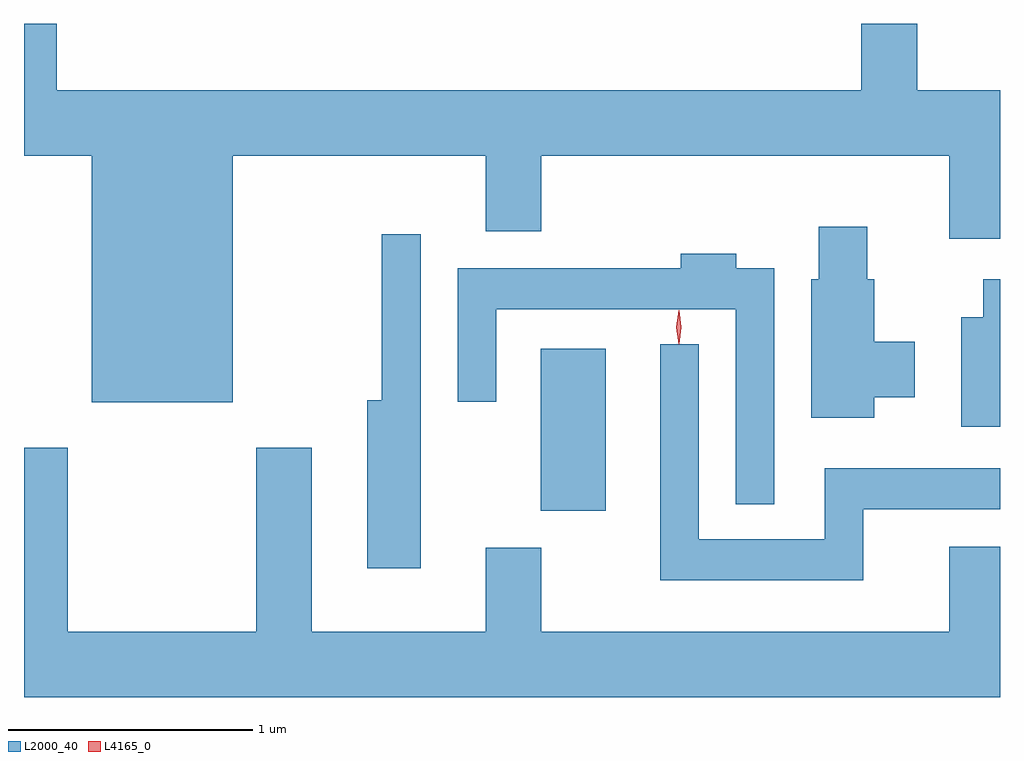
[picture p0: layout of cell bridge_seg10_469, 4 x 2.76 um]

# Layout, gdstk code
import gdstk
lib = gdstk.Library(unit=1e-6, precision=1e-09)
def R(c, l, rs):  # rectangles x0, y0, x1, y1
    for r in rs: c.add(gdstk.rectangle(r[:2], r[2:], *l))
def P(c, l, *ps):  # polygons
    for p in ps: c.add(gdstk.Polygon(p, *l))
L2000_40 = (2000, 40)
L4165_0 = (4165, 0)

bridge_seg10_469 = lib.new_cell('bridge_seg10_469')
R(bridge_seg10_469, L2000_40, [(898.656,2176.841,898.924,2177.504)])
P(bridge_seg10_469, L2000_40, [(897.394,2178.296),(898.431,2178.296),(898.431,2177.986),(898.659,2177.986),(898.659,2178.296),(900.331,2178.296),(900.331,2177.956),(900.539,2177.956),(900.539,2178.564),(900.199,2178.564),(900.199,2178.837),(899.971,2178.837),(899.971,2178.564),(896.674,2178.564),(896.674,2178.837),(896.539,2178.837),(896.539,2178.296),(896.816,2178.296),(896.816,2177.286),(897.394,2177.286)],
  [(900.024,2177.306),(900.189,2177.306),(900.189,2177.534),(900.024,2177.534),(900.024,2177.789),(899.994,2177.789),(899.994,2178.004),(899.796,2178.004),(899.796,2177.789),(899.766,2177.789),(899.766,2177.221),(900.024,2177.221)],
  [(898.164,2177.973),(898.006,2177.973),(898.006,2177.294),(897.946,2177.294),(897.946,2176.606),(898.164,2176.606)],
  [(899.614,2177.834),(899.459,2177.834),(899.459,2177.894),(899.231,2177.894),(899.231,2177.834),(898.316,2177.834),(898.316,2177.288),(898.474,2177.288),(898.474,2177.666),(899.456,2177.666),(899.456,2176.868),(899.614,2176.868)],
  [(900.539,2177.789),(900.471,2177.789),(900.471,2177.634),(900.381,2177.634),(900.381,2177.186),(900.539,2177.186)],
  [(899.979,2176.846),(900.539,2176.846),(900.539,2177.014),(899.821,2177.014),(899.821,2176.724),(899.304,2176.724),(899.304,2177.523),(899.146,2177.523),(899.146,2176.556),(899.979,2176.556)],
  [(900.539,2176.694),(900.331,2176.694),(900.331,2176.344),(898.659,2176.344),(898.659,2176.689),(898.431,2176.689),(898.431,2176.344),(897.719,2176.344),(897.719,2177.099),(897.491,2177.099),(897.491,2176.344),(896.719,2176.344),(896.719,2177.099),(896.539,2177.099),(896.539,2176.076),(900.539,2176.076)])
P(bridge_seg10_469, L4165_0, [(899.223,2177.524),(899.223,2177.524),(899.213,2177.593),(899.223,2177.662),(899.223,2177.663),(899.224,2177.662),(899.233,2177.593),(899.224,2177.524)])

lib.write_gds('bridge_seg10_469.gds')
